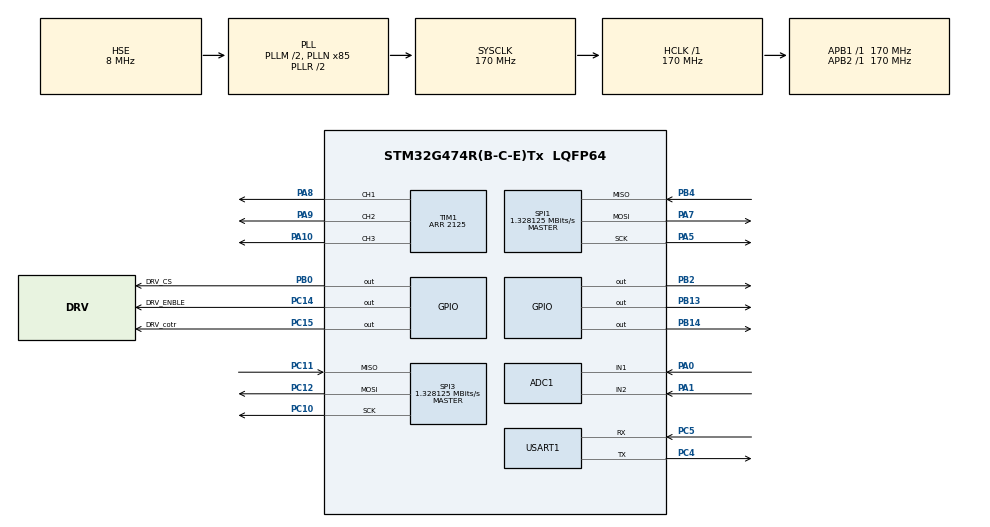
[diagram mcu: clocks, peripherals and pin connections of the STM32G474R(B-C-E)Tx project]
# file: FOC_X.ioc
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ADC1.ContinuousConvMode=ENABLE
ADC1.EnableInjectedConversion=ENABLE
ADC1.EnableRegularConversion=DISABLE
ADC1.ExternalTrigInjecConv=ADC_EXTERNALTRIGINJEC_T1_TRGO
ADC1.InjNumberOfConversion=2
ADC1.InjectedChannel-1\#ChannelInjectedConversion=ADC_CHANNEL_1
ADC1.InjectedChannel-6\#ChannelInjectedConversion=ADC_CHANNEL_2
ADC1.InjectedOffsetNumber-1\#ChannelInjectedConversion=ADC_OFFSET_NONE
ADC1.InjectedOffsetNumber-6\#ChannelInjectedConversion=ADC_OFFSET_NONE
ADC1.InjectedRank-1\#ChannelInjectedConversion=1
ADC1.InjectedRank-6\#ChannelInjectedConversion=2
ADC1.InjectedSamplingTime-1\#ChannelInjectedConversion=ADC_SAMPLETIME_6CYCLES_5
ADC1.InjectedSamplingTime-6\#ChannelInjectedConversion=ADC_SAMPLETIME_6CYCLES_5
ADC1.Mode=ADC_MODE_INDEPENDENT
ADC1.Rank2_Channel=ADC_CHANNEL_2
ADC1.master=1
Dma.Request0=SPI1_RX
Dma.Request1=SPI1_TX
Dma.Request2=USART1_RX
Dma.SPI1_RX.0.Direction=DMA_PERIPH_TO_MEMORY
Dma.SPI1_RX.0.EventEnable=DISABLE
Dma.SPI1_RX.0.Instance=DMA1_Channel1
Dma.SPI1_RX.0.MemDataAlignment=DMA_MDATAALIGN_HALFWORD
Dma.SPI1_RX.0.MemInc=DMA_MINC_ENABLE
Dma.SPI1_RX.0.Mode=DMA_NORMAL
Dma.SPI1_RX.0.PeriphDataAlignment=DMA_PDATAALIGN_HALFWORD
Dma.SPI1_RX.0.PeriphInc=DMA_PINC_DISABLE
Dma.SPI1_RX.0.Polarity=HAL_DMAMUX_REQ_GEN_RISING
Dma.SPI1_RX.0.Priority=DMA_PRIORITY_LOW
Dma.SPI1_RX.0.RequestNumber=1
Dma.SPI1_RX.0.SignalID=NONE
Dma.SPI1_RX.0.SyncEnable=DISABLE
Dma.SPI1_RX.0.SyncPolarity=HAL_DMAMUX_SYNC_NO_EVENT
Dma.SPI1_RX.0.SyncRequestNumber=1
Dma.SPI1_RX.0.SyncSignalID=NONE
Dma.SPI1_TX.1.Direction=DMA_MEMORY_TO_PERIPH
Dma.SPI1_TX.1.EventEnable=DISABLE
Dma.SPI1_TX.1.Instance=DMA1_Channel2
Dma.SPI1_TX.1.MemDataAlignment=DMA_MDATAALIGN_HALFWORD
Dma.SPI1_TX.1.MemInc=DMA_MINC_ENABLE
Dma.SPI1_TX.1.Mode=DMA_NORMAL
Dma.SPI1_TX.1.PeriphDataAlignment=DMA_PDATAALIGN_HALFWORD
Dma.SPI1_TX.1.PeriphInc=DMA_PINC_DISABLE
Dma.SPI1_TX.1.Polarity=HAL_DMAMUX_REQ_GEN_RISING
Dma.SPI1_TX.1.Priority=DMA_PRIORITY_LOW
Dma.SPI1_TX.1.RequestNumber=1
Dma.SPI1_TX.1.SignalID=NONE
Dma.SPI1_TX.1.SyncEnable=DISABLE
Dma.SPI1_TX.1.SyncPolarity=HAL_DMAMUX_SYNC_NO_EVENT
Dma.SPI1_TX.1.SyncRequestNumber=1
Dma.SPI1_TX.1.SyncSignalID=NONE
Dma.USART1_RX.2.Direction=DMA_PERIPH_TO_MEMORY
Dma.USART1_RX.2.EventEnable=DISABLE
Dma.USART1_RX.2.Instance=DMA1_Channel3
Dma.USART1_RX.2.MemDataAlignment=DMA_MDATAALIGN_BYTE
Dma.USART1_RX.2.MemInc=DMA_MINC_ENABLE
Dma.USART1_RX.2.Mode=DMA_NORMAL
Dma.USART1_RX.2.PeriphDataAlignment=DMA_PDATAALIGN_BYTE
Dma.USART1_RX.2.PeriphInc=DMA_PINC_DISABLE
Dma.USART1_RX.2.Polarity=HAL_DMAMUX_REQ_GEN_RISING
Dma.USART1_RX.2.Priority=DMA_PRIORITY_LOW
Dma.USART1_RX.2.RequestNumber=1
Dma.USART1_RX.2.SignalID=NONE
Dma.USART1_RX.2.SyncEnable=DISABLE
Dma.USART1_RX.2.SyncPolarity=HAL_DMAMUX_SYNC_NO_EVENT
Dma.USART1_RX.2.SyncRequestNumber=1
Dma.USART1_RX.2.SyncSignalID=NONE
Mcu.Family=STM32G4
Mcu.Name=STM32G474R(B-C-E)Tx
Mcu.Package=LQFP64
NVIC.ADC1_2_IRQn=true\:1\:0\:true\:false\:true\:true\:true\:true
NVIC.DMA1_Channel1_IRQn=true\:0\:0\:false\:false\:true\:false\:true\:true
NVIC.DMA1_Channel2_IRQn=true\:0\:0\:false\:false\:true\:false\:true\:true
NVIC.DMA1_Channel3_IRQn=true\:0\:0\:false\:false\:true\:false\:true\:true
NVIC.PriorityGroup=NVIC_PRIORITYGROUP_4
NVIC.SPI1_IRQn=true\:0\:0\:false\:false\:true\:true\:true\:true
NVIC.TIM1_BRK_TIM15_IRQn=true\:0\:0\:false\:false\:true\:true\:true\:true
NVIC.USART1_IRQn=true\:0\:0\:false\:false\:true\:true\:true\:true
PA0.Mode=IN1-Single-Ended
PA0.Signal=ADC1_IN1
PA1.Mode=IN2-Single-Ended
PA1.Signal=ADC1_IN2
PA10.Signal=S_TIM1_CH3
PA13.Mode=Serial_Wire
PA13.Signal=SYS_JTMS-SWDIO
PA14.Mode=Serial_Wire
PA14.Signal=SYS_JTCK-SWCLK
PA5.GPIO_Speed=GPIO_SPEED_FREQ_VERY_HIGH
PA5.Mode=Full_Duplex_Master
PA5.Signal=SPI1_SCK
PA7.GPIO_Speed=GPIO_SPEED_FREQ_VERY_HIGH
PA7.Mode=Full_Duplex_Master
PA7.Signal=SPI1_MOSI
PA8.Signal=S_TIM1_CH1
PA9.Signal=S_TIM1_CH2
PB0.GPIO_Label=DRV_CS
PB0.GPIO_Speed=GPIO_SPEED_FREQ_VERY_HIGH
PB0.PinState=GPIO_PIN_SET
PB0.Signal=GPIO_Output
PB13.GPIO_ModeDefaultOutputPP=GPIO_MODE_OUTPUT_PP
PB13.GPIO_PuPd=GPIO_PULLUP
PB13.GPIO_Speed=GPIO_SPEED_FREQ_LOW
PB13.PinState=GPIO_PIN_SET
PB13.Signal=GPIO_Output
PB14.GPIO_ModeDefaultOutputPP=GPIO_MODE_OUTPUT_PP
PB14.GPIO_PuPd=GPIO_PULLUP
PB14.GPIO_Speed=GPIO_SPEED_FREQ_LOW
PB14.PinState=GPIO_PIN_SET
PB14.Signal=GPIO_Output
PB2.GPIO_Speed=GPIO_SPEED_FREQ_VERY_HIGH
PB2.Signal=GPIO_Output
PB4.GPIO_Speed=GPIO_SPEED_FREQ_VERY_HIGH
PB4.Mode=Full_Duplex_Master
PB4.Signal=SPI1_MISO
PC0.Signal=ADC2_IN6
PC1.Signal=ADC2_IN7
PC10.GPIO_Speed=GPIO_SPEED_FREQ_VERY_HIGH
PC10.Mode=Full_Duplex_Master
PC10.Signal=SPI3_SCK
PC11.GPIO_Speed=GPIO_SPEED_FREQ_VERY_HIGH
PC11.Mode=Full_Duplex_Master
PC11.Signal=SPI3_MISO
PC12.GPIO_Speed=GPIO_SPEED_FREQ_VERY_HIGH
PC12.Mode=Full_Duplex_Master
PC12.Signal=SPI3_MOSI
PC14-OSC32_IN.GPIO_Label=DRV_ENBLE
PC14-OSC32_IN.Signal=GPIO_Output
PC15-OSC32_OUT.GPIO_Label=DRV_cotr
PC15-OSC32_OUT.Signal=GPIO_Output
PC4.Mode=Asynchronous
PC4.Signal=USART1_TX
PC5.Mode=Asynchronous
PC5.Signal=USART1_RX
PF0-OSC_IN.Mode=HSE-External-Oscillator
PF0-OSC_IN.Signal=RCC_OSC_IN
PF1-OSC_OUT.Mode=HSE-External-Oscillator
PF1-OSC_OUT.Signal=RCC_OSC_OUT
ProjectManager.HeapSize=0x200
ProjectManager.StackSize=0x400
ProjectManager.TargetToolchain=MDK-ARM V5.32
RCC.ADC12Freq_Value=170000000
RCC.ADC345Freq_Value=170000000
RCC.AHBFreq_Value=170000000
RCC.APB1Freq_Value=170000000
RCC.APB1TimFreq_Value=170000000
RCC.APB2Freq_Value=170000000
RCC.APB2TimFreq_Value=170000000
RCC.CortexFreq_Value=170000000
RCC.EXTERNAL_CLOCK_VALUE=12288000
RCC.HCLKFreq_Value=170000000
RCC.HSE_VALUE=8000000
RCC.HSI48_VALUE=48000000
RCC.HSI_VALUE=16000000
RCC.LSE_VALUE=32768
RCC.PLLM=RCC_PLLM_DIV2
RCC.PLLN=85
RCC.PLLSourceVirtual=RCC_PLLSOURCE_HSE
RCC.SYSCLKFreq_VALUE=170000000
RCC.SYSCLKSource=RCC_SYSCLKSOURCE_PLLCLK
RCC.USBFreq_Value=170000000
RCC.VCOOutputFreq_Value=340000000
SH.S_TIM1_CH1.0=TIM1_CH1,PWM Generation1 CH1
SH.S_TIM1_CH2.0=TIM1_CH2,PWM Generation2 CH2
SH.S_TIM1_CH3.0=TIM1_CH3,PWM Generation3 CH3
SPI1.BaudRatePrescaler=SPI_BAUDRATEPRESCALER_128
SPI1.CLKPhase=SPI_PHASE_2EDGE
SPI1.CalculateBaudRate=1.328125 MBits/s
SPI1.DataSize=SPI_DATASIZE_16BIT
SPI1.Direction=SPI_DIRECTION_2LINES
SPI1.Mode=SPI_MODE_MASTER
SPI1.VirtualType=VM_MASTER
SPI3.BaudRatePrescaler=SPI_BAUDRATEPRESCALER_128
SPI3.CLKPhase=SPI_PHASE_2EDGE
SPI3.CalculateBaudRate=1.328125 MBits/s
SPI3.DataSize=SPI_DATASIZE_16BIT
SPI3.Direction=SPI_DIRECTION_2LINES
SPI3.Mode=SPI_MODE_MASTER
SPI3.VirtualType=VM_MASTER
STMicroelectronics.X-CUBE-ALGOBUILD.1.4.0.LibraryCcDSPOoLibraryJjDSPOoLibrary=true
TIM1.Channel-PWM\ Generation1\ CH1=TIM_CHANNEL_1
TIM1.Channel-PWM\ Generation2\ CH2=TIM_CHANNEL_2
TIM1.Channel-PWM\ Generation3\ CH3=TIM_CHANNEL_3
TIM1.CounterMode=TIM_COUNTERMODE_CENTERALIGNED1
TIM1.PeriodNoDither=2125
TIM1.PulseNoDither_1=2125/2
TIM1.PulseNoDither_2=2125/2
TIM1.PulseNoDither_3=2125/2
TIM1.RepetitionCounter=19
TIM1.TIM_MasterOutputTrigger=TIM_TRGO_UPDATE
TIM15.PeriodNoDither=100-1
TIM15.Prescaler=1700-1
USART1.VirtualMode-Asynchronous=VM_ASYNC
VP_STMicroelectronics.X-CUBE-ALGOBUILD_VS_DSPOoLibraryJjLibrary_1.4.0_1.4.0.Mode=DSPOoLibraryJjLibrary
VP_SYS_VS_DBSignals.Mode=DisableDeadBatterySignals
VP_TIM15_VS_ClockSourceINT.Mode=Internal
VP_TIM1_VS_ClockSourceINT.Mode=Internal
board=custom

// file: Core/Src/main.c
/* USER CODE BEGIN Header */
/**
  ******************************************************************************
  * @file           : main.c
  * @brief          : Main program body
  ******************************************************************************
  * @attention
  *
  * Copyright (c) 2025 STMicroelectronics.
  * All rights reserved.
  *
  * This software is licensed under terms that can be found in the LICENSE file
  * in the root directory of this software component.
  * If no LICENSE file comes with this software, it is provided AS-IS.
  *
  ******************************************************************************
  */
/* USER CODE END Header */
#include "main.h"
#include "adc.h"
#include "dma.h"
#include "spi.h"
#include "tim.h"
#include "usart.h"
#include "gpio.h"

/* USER CODE BEGIN Includes */
#include "define.h"
#include "DRV8353.H"
#include "AS5047P.H"
#include "FOC.H"
#include "math.h"
#include "stdio.h"
#include <string.h>
#include "arm_math.h"
#include <stdbool.h>
/* USER CODE END Includes */

/* USER CODE BEGIN PD */
#define abs(x) ((x)>0?(x):-(x))
/* USER CODE END PD */

/* USER CODE BEGIN PM */
void SVPWM_SET_OUT(float angle_el,float Uq,float Ud);
void lib_position_control(float rad);
void lib_speed_control(float speed);
void lib_torque_control(float torque_norm_q);
void lib_speed_torque_control(float speed_rad, float max_torque_norm);
void lib_position_torque_control(float position_rad, float max_torque_norm);
void lib_position_speed_torque_control(float position_rad, float max_speed_rad, float max_torque_norm);
float FOC_speed_pid(float speed,float _motor_speed);
float V_Q_pid=0;

float motor_i_u,motor_i_v,motor_i_d,motor_i_q;
float u_1, u_2;

////中值滤波////
#define lenth 3
float data_mon[lenth];
float lvbo_data[lenth];

/* USER CODE END PM */

/* USER CODE BEGIN PV */
float angle;
uint16_t as5047_rx_data;
float angle_add,angle_Multi,angle_mon;////多圈角度变量
float motor_speed=0;
float D_U,D_V,D_W;//占空比
///****串口****//////////////
uint8_t	 RX_Buf[128]={0};//DMA接收数组
uint8_t	 RX_RCBuf[128]={'0'};//DMA接收数组存储

int fputc(int ch,FILE *f)
{

	HAL_UART_Transmit(&huart1,(uint8_t *)&ch,1,HAL_MAX_DELAY);
	return ch;
}
float angle_mon_last=0;
float angle_diff;

/* USER CODE END PV */

void SystemClock_Config(void);
/* USER CODE BEGIN PFP */
float speed_diff,Uq_set,tor_set;
float tor_diff,speed_set;
float postion_diff;

unsigned int ADC_tim_count=0;
float vote_BUS,tempture=0;

/* USER CODE END PFP */

/* USER CODE BEGIN 0 */
static arm_pid_instance_f32 pid_position;
static arm_pid_instance_f32 pid_speed;
static arm_pid_instance_f32 pid_torque_d;
static arm_pid_instance_f32 pid_torque_q;
void set_motor_pid(  //////PID参数
float position_p, float position_i, float position_d,
float speed_p, float speed_i, float speed_d,
float torque_d_p, float torque_d_i, float torque_d_d,
float torque_q_p, float torque_q_i, float torque_q_d)
{
    pid_position.Kp = position_p;
    pid_position.Ki = position_i;
    pid_position.Kd = position_d;

    pid_speed.Kp = speed_p;
    pid_speed.Ki = speed_i;
    pid_speed.Kd = speed_d;

    pid_torque_d.Kp = torque_d_p;
    pid_torque_d.Ki = torque_d_i;
    pid_torque_d.Kd = torque_d_d;

    pid_torque_q.Kp = torque_q_p;
    pid_torque_q.Ki = torque_q_i;
    pid_torque_q.Kd = torque_q_d;
    arm_pid_init_f32(&pid_position, false);//false代表清空内部增量数据
    arm_pid_init_f32(&pid_speed, false);
    arm_pid_init_f32(&pid_torque_d, false);
    arm_pid_init_f32(&pid_torque_q, false);
}
/* USER CODE END 0 */

int main(void)
{

  /* MCU Configuration--------------------------------------------------------*/

  /* Reset of all peripherals, Initializes the Flash interface and the Systick. */
  HAL_Init();

  /* Configure the system clock */
  SystemClock_Config();

  /* Initialize all configured peripherals */
  MX_GPIO_Init();
  MX_DMA_Init();
  MX_SPI3_Init();
  MX_TIM1_Init();
  MX_SPI1_Init();
  MX_ADC1_Init();
  MX_TIM15_Init();
  MX_USART1_UART_Init();
  /* USER CODE BEGIN 2 */
	Run_ON();////
	Fault_ON();
  Set_DRV8353();
	/////PWM init//////
	HAL_TIM_Base_Start (&htim1);
	HAL_TIM_Base_Start_IT(&htim1);
	HAL_TIM_PWM_Start(&htim1 ,TIM_CHANNEL_1 );
	HAL_TIM_PWM_Start(&htim1 ,TIM_CHANNEL_2 );
	HAL_TIM_PWM_Start(&htim1 ,TIM_CHANNEL_3 );
	///串口
	__HAL_UART_ENABLE_IT(&huart1,UART_IT_IDLE);	//使能IDLE(空闲)中断
  HAL_UART_Receive_DMA(&huart1,RX_Buf,128);		//启动DMA接收
	/////tim15//////////
	HAL_TIM_Base_Start_IT(&htim15);
  HAL_ADCEx_Calibration_Start(&hadc1,ADC_SINGLE_ENDED);
  HAL_ADCEx_InjectedStart_IT(&hadc1);
	HAL_SPI_TransmitReceive_DMA(&hspi1, (uint8_t *)0xffff, (uint8_t *)&as5047_rx_data, 2);

	AS5407P_CS_L
		/////零点////////
	__HAL_TIM_SET_COMPARE(&htim1 ,TIM_CHANNEL_1 ,(int)(2125*0.05));
	__HAL_TIM_SET_COMPARE(&htim1 ,TIM_CHANNEL_2 ,(int)(2125*0));
	__HAL_TIM_SET_COMPARE(&htim1 ,TIM_CHANNEL_3 ,(int)(2125*0));
	angle_mon_flag=1;
	HAL_Delay(400);
	__HAL_TIM_SET_COMPARE(&htim1 ,TIM_CHANNEL_1 ,(int)(2125*0));
	__HAL_TIM_SET_COMPARE(&htim1 ,TIM_CHANNEL_2 ,(int)(2125*0));
	__HAL_TIM_SET_COMPARE(&htim1 ,TIM_CHANNEL_3 ,(int)(2125*0));

//set_motor_pid(//位置-力矩Pi
//     30.000000,0.00951 , 0,///位置环
//      0.0, 0.0, 0,///速度环
//      0, 0, 0,///力矩环d
//      0.0810100, 0.0000101, 0);////力矩环q

//		set_motor_pid( ///速度-力矩环
//      0.001 , 0,0,///位置环
//      0.01, 0.00013, 0,///速度环
//      0, 0, 0,///力矩环d
//      0.0110115, 0.00011, 0);////力矩环q

	set_motor_pid(          ///独立模式
      2.990,0.0000301 , 0,///位置环
      0.001001, 0.0001001, 0,///速度环
      0, 0, 0,///力矩环d
      0.0054, 0.001, 0);////力矩环q

  /* USER CODE END 2 */

  /* Infinite loop */
  /* USER CODE BEGIN WHILE */
  while (1)
  {
		if(motor_mode==1)
		{
			printf("%.2f,%.2f\n",motor_tor_set*MAX_CURRENT,motor_i_q);
		}
		if(motor_mode==2)
		{
			printf("%.2f,%.2f\n",motor_speed_set,motor_speed);
		}
		if(motor_mode==3)
		{
			printf("%.2f,%.2f\n",deg2rad(motor_pos_set),angle_Multi);
		}
		if(motor_mode==4)
		{
			printf("%.2f,%.2f,%.2f,%.2f\n",motor_spe_tor_set,motor_speed,motor_tor_spe_set*MAX_CURRENT,motor_i_q);
		}
		if(motor_mode==5)
		{
			printf("%.2f,%.2f,%.2f,%.2f\n",motor_tor_pos_set*MAX_CURRENT,motor_i_q,deg2rad(motor_pos_tor_set),angle_Multi);
		}
    /* USER CODE END WHILE */

  }
}

void SystemClock_Config(void)
{
  RCC_OscInitTypeDef RCC_OscInitStruct = {0};
  RCC_ClkInitTypeDef RCC_ClkInitStruct = {0};

  /** Configure the main internal regulator output voltage
  */
  HAL_PWREx_ControlVoltageScaling(PWR_REGULATOR_VOLTAGE_SCALE1_BOOST);

  /** Initializes the RCC Oscillators according to the specified parameters
  * in the RCC_OscInitTypeDef structure.
  */
  RCC_OscInitStruct.OscillatorType = RCC_OSCILLATORTYPE_HSE;
  RCC_OscInitStruct.HSEState = RCC_HSE_ON;
  RCC_OscInitStruct.PLL.PLLState = RCC_PLL_ON;
  RCC_OscInitStruct.PLL.PLLSource = RCC_PLLSOURCE_HSE;
  RCC_OscInitStruct.PLL.PLLM = RCC_PLLM_DIV2;
  RCC_OscInitStruct.PLL.PLLN = 85;
  RCC_OscInitStruct.PLL.PLLP = RCC_PLLP_DIV2;
  RCC_OscInitStruct.PLL.PLLQ = RCC_PLLQ_DIV2;
  RCC_OscInitStruct.PLL.PLLR = RCC_PLLR_DIV2;
  if (HAL_RCC_OscConfig(&RCC_OscInitStruct) != HAL_OK)
  {
    Error_Handler();
  }

  /** Initializes the CPU, AHB and APB buses clocks
  */
  RCC_ClkInitStruct.ClockType = RCC_CLOCKTYPE_HCLK|RCC_CLOCKTYPE_SYSCLK
                              |RCC_CLOCKTYPE_PCLK1|RCC_CLOCKTYPE_PCLK2;
  RCC_ClkInitStruct.SYSCLKSource = RCC_SYSCLKSOURCE_PLLCLK;
  RCC_ClkInitStruct.AHBCLKDivider = RCC_SYSCLK_DIV1;
  RCC_ClkInitStruct.APB1CLKDivider = RCC_HCLK_DIV1;
  RCC_ClkInitStruct.APB2CLKDivider = RCC_HCLK_DIV1;

  if (HAL_RCC_ClockConfig(&RCC_ClkInitStruct, FLASH_LATENCY_4) != HAL_OK)
  {
    Error_Handler();
  }
}

/* USER CODE BEGIN 4 */
//*********Callback*********////////////

////******//callback//******/////
void HAL_SPI_TxRxCpltCallback(SPI_HandleTypeDef *hspi)
{
  if (hspi->Instance == SPI1)
  {
    AS5407P_CS_H
		as5047_rx_data=as5047_rx_data&0x03fff;
		angle=_2PI*as5047_rx_data/0x03fff;
	  if(angle_mon_flag==1)////记录初始位置
		{
			angle_start_mon=angle;
			angle_mon_flag=0;
		}
		float angle_deff=(float)as5047_rx_data-angle_mon;///记录多圈角度
		if(abs(angle_deff)>(0.8*16383))
		{
			angle_add+=(angle_deff>0?-_2PI:_2PI);
		}angle_mon=as5047_rx_data;
		angle_Multi=(angle_add+angle);

		AS5407P_CS_L
		HAL_SPI_TransmitReceive_DMA(&hspi1, (uint8_t *)0xffff, (uint8_t *)&as5047_rx_data, 2);
	}
}

void HAL_TIM_PeriodElapsedCallback(TIM_HandleTypeDef *htim)
{
	if(htim->Instance==TIM15)
	{
		static float angle_mon_last=0;
		static char once=1;
		if(once==1)
		{
			angle_mon_last=angle;
			once=0;
		}
		angle_diff = cycle_diff(angle - angle_mon_last, PI*2);
		angle_mon_last=angle;
		motor_speed=angle_diff/0.001f;
		for(int i=1;i<lenth;i++)
		{
			data_mon[i-1]=data_mon[i];
		}data_mon[lenth-1]=motor_speed;
		for(int i=0; i<lenth; i++)
		{
			lvbo_data[i] = data_mon[i];
		}
		// 使用冒泡排序
		for(int i=0; i<lenth-1; i++) {
				for(int j=0; j<lenth-i-1; j++) {
						if(lvbo_data[j] > lvbo_data[j+1]) {
								float swap = lvbo_data[j];
								lvbo_data[j] = lvbo_data[j+1];
								lvbo_data[j+1] = swap;
						}
				}
		}
		motor_speed=lvbo_data[lenth/2];
		motor_speed=Low_pass_filter(motor_speed,0.07);
	}
}
void HAL_ADCEx_InjectedConvCpltCallback(ADC_HandleTypeDef *hadc)
{
  if (hadc->Instance == ADC1)
  {
    u_1 = 3.3f * ((float)hadc->Instance->JDR1/ ((1 << 12) - 1) - 0.5);
    u_2 = 3.3f * ((float)hadc->Instance->JDR2 / ((1 << 12) - 1) - 0.5);
    float i_1= u_1 / 0.001f / 20;
    float i_2 = u_2 / 0.001f / 20;
	  motor_i_v= i_1;
    motor_i_u = i_2;
		float i_alpha = 0;
    float i_beta = 0;
    arm_clarke_f32(motor_i_u, motor_i_v, &i_alpha, &i_beta);
    float sin_value = arm_sin_f32(angle_Multi);
    float cos_value = arm_cos_f32(angle_Multi);
    arm_park_f32(i_alpha, i_beta, &motor_i_d, &motor_i_q, sin_value, cos_value);

    motor_i_d = Low_pass_filter(motor_i_d,0.1);
    motor_i_q = Low_pass_filter(motor_i_q,0.1);
		if(motor_mode==1)////力矩模式
		{
			lib_torque_control(motor_tor_set);
		}
		if(motor_mode==2)///速度模式
		{
			lib_speed_control(motor_speed_set);
		}
		if(motor_mode==3)///位置模式
		{
			lib_position_control(deg2rad(motor_pos_set));
		}
		if(motor_mode==4)///速度-力矩模式
		{
			lib_speed_torque_control(motor_spe_tor_set,motor_tor_spe_set);
		}
		if(motor_mode==5)///位置-力矩模式
		{
			lib_position_torque_control(deg2rad(motor_pos_tor_set),motor_tor_pos_set);
		}
  }
}

/////串口-DMA//////////////////////////////////////////////////////////
void HAL_UART_AbortReceiveCpltCallback(UART_HandleTypeDef *huart)
{
	if(huart->Instance==USART1)
	{
		for(unsigned char m=0;m<128;m++)
		{
			 RX_RCBuf[m]=RX_Buf[m];
			 if(RX_RCBuf[0]=='t'&&RX_RCBuf[1]=='o'&&RX_RCBuf[2]=='r')
			 {
				 motor_mode=1;
				 motor_tor_set=(RX_RCBuf[4]-'0')/10.0f+(RX_RCBuf[5]-'0')/100.f+(RX_RCBuf[6]-'0')/1000.0f;
			 }
			 if(RX_RCBuf[0]=='s'&&RX_RCBuf[1]=='p'&&RX_RCBuf[2]=='e')
			 {
				 motor_mode=2;
				 motor_speed_set=(RX_RCBuf[4]-'0')*100+(RX_RCBuf[5]-'0')*10+(RX_RCBuf[6]-'0');
			 }
			 if(RX_RCBuf[0]=='p'&&RX_RCBuf[1]=='o'&&RX_RCBuf[2]=='s')
			 {
				 motor_mode=3;
				 motor_pos_set=(RX_RCBuf[4]-'0')*100+(RX_RCBuf[5]-'0')*10+(RX_RCBuf[6]-'0');

			 }
			 if(RX_RCBuf[0]=='t'&&RX_RCBuf[1]=='a'&&RX_RCBuf[2]=='s')
			 {
				 motor_mode=4;
				 motor_spe_tor_set=(RX_RCBuf[4]-'0')*100+(RX_RCBuf[5]-'0')*10+(RX_RCBuf[6]-'0');
				 motor_tor_spe_set=(RX_RCBuf[8]-'0')/10.0f+(RX_RCBuf[9]-'0')/100.0f+(RX_RCBuf[10]-'0')/1000.0f;
			 }
			 if(RX_RCBuf[0]=='t'&&RX_RCBuf[1]=='a'&&RX_RCBuf[2]=='p')
			 {
				 motor_mode=5;
				 motor_pos_tor_set=(RX_RCBuf[4]-'0')*100+(RX_RCBuf[5]-'0')*10+(RX_RCBuf[6]-'0');
				 motor_tor_pos_set=(RX_RCBuf[8]-'0')/10.0f+(RX_RCBuf[9]-'0')/100.0f+(RX_RCBuf[10]-'0')/1000.0f;

			 }
		}
		memset(RX_Buf,0,sizeof(RX_Buf));//清空接收数组
		HAL_UART_Receive_DMA(&huart1,RX_Buf,128);		//启动DMA接收
	}
}
void SVPWM_SET_OUT(float angle_el,float Uq,float Ud)
{
	SVPWM(angle_el, Ud, Uq, &D_U, &D_V, &D_W);
	limit_max(D_U,0.90);
	limit_max(D_V,0.90);
	limit_max(D_W,0.90);
	__HAL_TIM_SET_COMPARE(&htim1 ,TIM_CHANNEL_1 ,(int)(2125*D_U));
	__HAL_TIM_SET_COMPARE(&htim1 ,TIM_CHANNEL_2 ,(int)(2125*D_V));
	__HAL_TIM_SET_COMPARE(&htim1 ,TIM_CHANNEL_3 ,(int)(2125*D_W));
}
/////////位置环/////////////
static float position_loop(float rad)
{
    float diff = cycle_diff(rad -angle_Multi, position_cycle);
    return arm_pid_f32(&pid_position, diff);
}

void lib_position_control(float rad)
{
    float d = 0;
    float q = position_loop(rad);
    SVPWM_SET_OUT(angle_Multi*10,0,q);
}

/////////速度环////////////////

static float speed_loop(float speed_rad)
{
    float diff = speed_rad-motor_speed;
    return arm_pid_f32(&pid_speed, diff);
}
void lib_speed_control(float speed)
{
    float d = 0;
    float q = speed_loop(speed);
    SVPWM_SET_OUT(angle_Multi*10,0,q);
}
/////////力矩环////////////////
static float torque_q_loop(float q)
{
    float diff = q - motor_i_q/ MAX_CURRENT;
    return arm_pid_f32(&pid_torque_q, diff);
}

void lib_torque_control(float torque_norm_q)
{
    float q = torque_q_loop(torque_norm_q);
    SVPWM_SET_OUT(angle_Multi*10,0,q);
}
//串级PID 力矩-速度控制
void lib_speed_torque_control(float speed_rad, float max_torque_norm)
{
    float torque_norm = speed_loop(speed_rad);
    torque_norm = min(fabs(torque_norm), max_torque_norm) * (torque_norm > 0 ? 1 : -1);
    lib_torque_control(torque_norm);
}

//串级PID 力矩-位置控制
void lib_position_torque_control(float position_rad, float max_torque_norm)
{
    float torque_norm = position_loop(position_rad);
    torque_norm = min(fabs(torque_norm), max_torque_norm) * (torque_norm > 0 ? 1 : -1);
    lib_torque_control(torque_norm);
}

void lib_position_speed_torque_control(float position_rad, float max_speed_rad, float max_torque_norm)
{
    float speed_rad = position_loop(position_rad);
    speed_rad = min(fabs(speed_rad), max_speed_rad) * (speed_rad > 0 ? 1 : -1);
    lib_speed_torque_control(speed_rad, max_torque_norm);
}

/* USER CODE END 4 */

void Error_Handler(void)
{
  __disable_irq();
  while (1)
  {
  }
}
